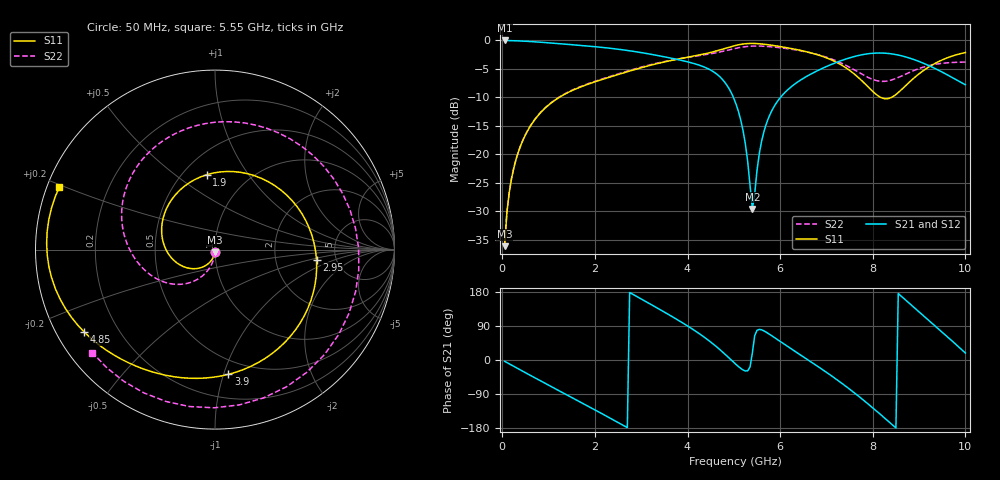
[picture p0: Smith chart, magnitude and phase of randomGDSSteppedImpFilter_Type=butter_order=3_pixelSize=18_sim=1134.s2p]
! freq	dB(S11)	phase(S11)	dB(S12)	phase(S12)
!  dB(S21)	phase(S21)	dB(S22)	phase(S22)
!S-par simulation data
#  GHz  S  DB  R 50
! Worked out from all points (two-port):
!   200 points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, 50 MHz to 10 GHz, reference 50 ohm
!   highest |S21| = -0.01 dB at 50 MHz (marker M1); lowest = -29.6 dB at 5.4 GHz (marker M2)
!   |S21| within 3 dB of the highest: start of sweep to 3.581 GHz; 7.521 GHz to 8.758 GHz (1.237 GHz wide, 15.2 % of centre)
!   lowest |S11| = -36.1 dB at 50 MHz (marker M3), VSWR 1.03, Z = 49.9 - j1.56 ohm
!   |S11| at or under -10 dB: start of sweep to 1.228 GHz; 8.174 GHz to 8.403 GHz (229.7 MHz wide, 2.77 % of centre)
!   |S22| runs from -36.1 to -1.0 dB; largest |S21 - S12| = 0
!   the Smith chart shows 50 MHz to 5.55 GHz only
!   S11 on the Smith chart (normalised r, x): 50 MHz: 1.00, -0.03; 1.9 GHz: 0.65, +0.66; 2.95 GHz: 3.52, -0.60; 3.9 GHz: 0.38, -1.04; 4.85 GHz: 0.08, -0.29; 5.55 GHz: 0.04, +0.19
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0.05  -36.09 -94.2  -0.01 -3.4  -0.01 -3.4  -36.07 -92.0
0.2  -24.22 -107.8  -0.04 -13.5  -0.04 -13.5  -24.19 -99.4
0.5  -16.56 -134.6  -0.15 -33.5  -0.15 -33.5  -16.52 -113.4
1.15  -10.41 167.2  -0.52 -76.2  -0.52 -76.2  -10.35 -140.8
1.75  -7.98 110.9  -0.92 -115.2  -0.92 -115.2  -7.90 -162.5
1.9  -7.54 96.3  -1.03 -125.0  -1.03 -125.0  -7.46 -167.6
2.95  -4.91 -5.9  -2.07 164.5  -2.07 164.5  -4.80 153.8
3.4  -3.96 -45.2  -2.72 133.4  -2.72 133.4  -3.88 131.2
3.9  -3.11 -83.8  -3.56 97.5  -3.56 97.5  -3.11 98.2
4.4  -2.30 -117.8  -4.80 56.7  -4.80 56.7  -2.48 50.0
4.85  -1.30 -147.6  -7.85 10.7  -7.85 10.7  -1.75 -16.5
5.05  -0.85 -162.4  -11.23 -12.0  -11.23 -12.0  -1.37 -53.1
5.4  -0.53 169.8  -29.59 18.9  -29.59 18.9  -1.00 -116.4
5.55  -0.59 158.0  -19.83 80.8  -19.83 80.8  -0.99 -140.0
5.95  -1.01 127.5  -10.59 53.1  -10.59 53.1  -1.24 169.4
6.7  -2.26 69.1  -5.74 -7.7  -5.74 -7.7  -2.26 102.4
7.2  -3.77 23.8  -3.90 -49.7  -3.90 -49.7  -3.55 65.6
7.65  -6.23 -26.9  -2.72 -91.2  -2.72 -91.2  -5.39 37.1
8.35  -10.17 -150.7  -2.30 -163.2  -2.30 -163.2  -7.06 9.6
9.15  -4.97 93.4  -4.20 111.0  -4.20 111.0  -4.55 -52.3
9.6  -3.08 56.0  -5.99 62.5  -5.99 62.5  -3.94 -108.4
10  -2.13 29.5  -7.79 18.3  -7.79 18.3  -3.81 -167.7
